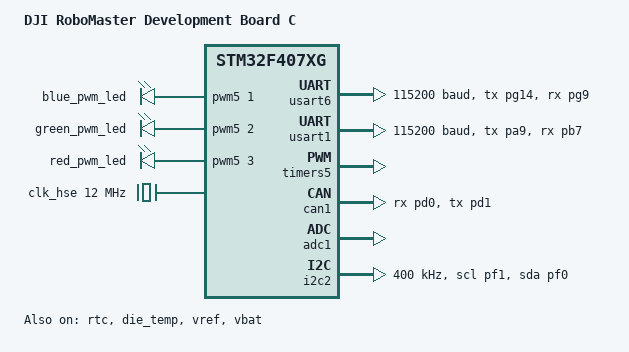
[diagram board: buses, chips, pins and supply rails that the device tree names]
/dts-v1/;
#include <st/f4/stm32f407Xg.dtsi>
#include <st/f4/stm32f407i(e-g)hx-pinctrl.dtsi>
#include <zephyr/dt-bindings/input/input-event-codes.h>
#include <zephyr/dt-bindings/led/led.h>

/ {
	model = "DJI RoboMaster Development Board C";
	compatible = "st";

	chosen {
		zephyr,console = &usart1;
		zephyr,shell-uart = &usart1;
		zephyr,sram = &sram0;
		zephyr,flash = &flash0;
		zephyr,ccm = &ccm0;
		zephyr,canbus = &can1;
	};

	pwmleds: pwmleds {
		compatible = "pwm-leds";

		blue_pwm_led: blue_pwm_led {
			pwms = <&pwm5 1 PWM_USEC(100) PWM_POLARITY_NORMAL>;
		};

		green_pwm_led: green_pwm_led {
			pwms = <&pwm5 2 PWM_USEC(100) PWM_POLARITY_NORMAL>;
		};

		red_pwm_led: red_pwm_led {
			pwms = <&pwm5 3 PWM_USEC(100) PWM_POLARITY_NORMAL>;
		};

	};

	aliases {
		pwm-led0 = &blue_pwm_led;
		pwm-led1 = &green_pwm_led;
		pwm-led2 = &red_pwm_led;
		die-temp0 = &die_temp;
		volt-sensor0 = &vref;
		volt-sensor1 = &vbat;
	};
};

&clk_lsi {
	status = "okay";
};

&clk_hse {
	clock-frequency = <DT_FREQ_M(12)>;
	status = "okay";
};

&pll {
	div-m = <6>;
	mul-n = <168>;
	div-p = <2>;
	div-q = <7>;
	clocks = <&clk_hse>;
	status = "okay";
};

&rcc {
	clocks = <&pll>;
	clock-frequency = <DT_FREQ_M(168)>;
	ahb-prescaler = <1>;
	apb1-prescaler = <4>;
	apb2-prescaler = <2>;
	status = "okay";
};

&usart6 {
	pinctrl-0 = <&usart6_tx_pg14 &usart6_rx_pg9>;
	pinctrl-names = "default";
	current-speed = <115200>;
	dmas = <&dma2 6 (STM32_DMA_PERIPH_TX | STM32_DMA_PRIORITY_HIGH)>,
	       <&dma2 2 (STM32_DMA_PERIPH_RX | STM32_DMA_PRIORITY_HIGH)>;
	dma-names = "tx", "rx";
	status = "okay";
};

&usart1 {
	pinctrl-0 = <&usart1_tx_pa9 &usart1_rx_pb7>;
	pinctrl-names = "default";
	current-speed = <115200>;
	dmas = <&dma2 5 (STM32_DMA_PERIPH_TX | STM32_DMA_PRIORITY_HIGH)>,
		   <&dma2 7 (STM32_DMA_PERIPH_RX | STM32_DMA_PRIORITY_HIGH)>;
	dma-names = "tx", "rx";
	status = "okay";
};

&timers5 {
	status = "okay";

	pwm5: pwm {
		status = "okay";
		pinctrl-0 = <&tim5_ch1_ph10 &tim5_ch2_ph11 &tim5_ch3_ph12>;
		pinctrl-names = "default";
	};
};

&rtc {
	clocks = <&rcc STM32_CLOCK_BUS_APB1 0x10000000>,
			 <&rcc STM32_SRC_LSI RTC_SEL(2)>;
	status = "okay";

	backup_regs {
		status = "okay";
	};
};

//zephyr_udc0: &usbotg_fs {
//	pinctrl-0 = <&usb_otg_fs_dm_pa11 &usb_otg_fs_dp_pa12>;
//	pinctrl-names = "default";
//	status = "okay";
//};

&can1 {
	pinctrl-0 = <&can1_rx_pd0 &can1_tx_pd1>;
	pinctrl-names = "default";
	status = "okay";
};

&adc1 {
	st,adc-prescaler = <4>;
	status = "okay";
};

&die_temp {
	status = "okay";
};

&vref {
	status = "okay";
};

&vbat {
	status = "okay";
};

&dma1 {
	status = "okay";
};

&dma2 {
	status = "okay";
};

&i2c2 {
	clock-frequency = <I2C_BITRATE_FAST>;
	pinctrl-0 = <&i2c2_scl_pf1 &i2c2_sda_pf0>;
	pinctrl-names = "default";
	status = "okay";
};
